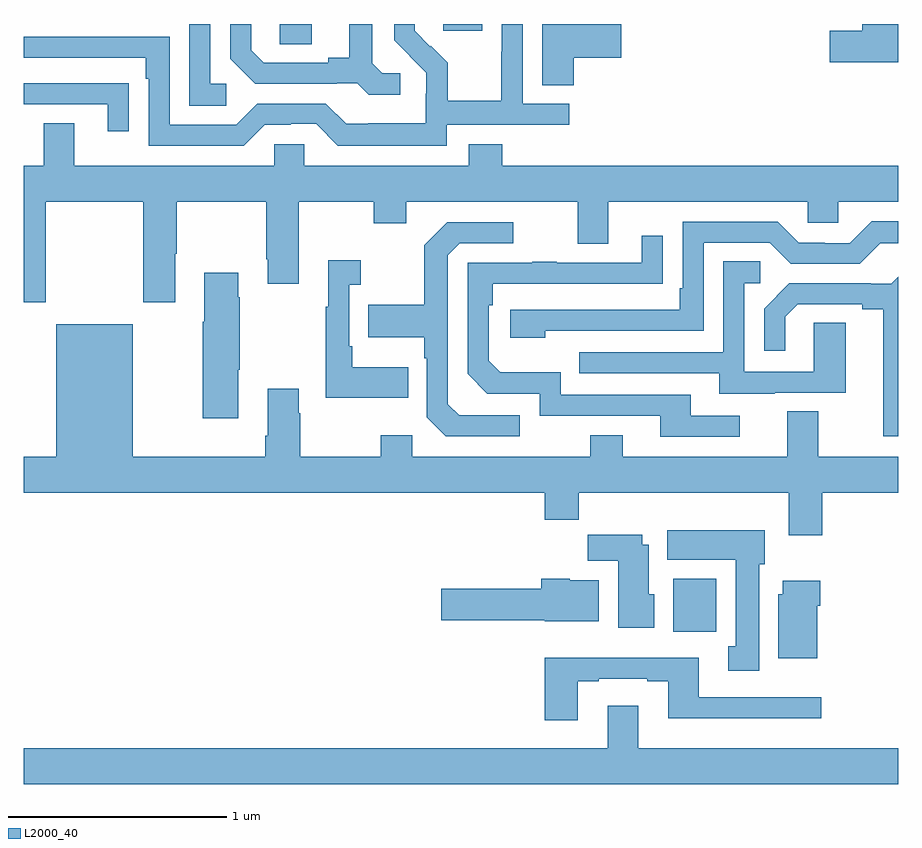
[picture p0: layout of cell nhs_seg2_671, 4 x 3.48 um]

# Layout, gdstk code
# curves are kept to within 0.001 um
import gdstk
lib = gdstk.Library(unit=1e-6, precision=1e-09)
def R(c, l, rs):  # rectangles x0, y0, x1, y1
    for r in rs: c.add(gdstk.rectangle(r[:2], r[2:], *l))
def P(c, l, *ps):  # polygons
    for p in ps: c.add(gdstk.Polygon(p, *l))
L2000_40 = (2000, 40)

nhs_seg2_671 = lib.new_cell('nhs_seg2_671')
R(nhs_seg2_671, L2000_40, [(147.971,627.02,148.168,627.262), (146.172,629.707,146.317,629.8), (146.918,629.769,147.097,629.8)])
P(nhs_seg2_671, L2000_40, [(145.927,629.526),(145.854,629.526),(145.854,629.8),(145.758,629.8),(145.758,629.425),(145.927,629.425)],
  [(146.934,629.34),(147.496,629.34),(147.496,629.436),(147.282,629.436),(147.282,629.8),(147.186,629.8),(147.186,629.672),(147.184,629.672),(147.184,629.449),(146.939,629.449),(146.939,629.623),(146.862,629.7),(146.859,629.697),(146.789,629.768),(146.789,629.8),(146.694,629.8),(146.694,629.726),(146.84,629.578),(146.84,629.481),(146.838,629.481),(146.838,629.347),(146.575,629.347),(146.575,629.343),(146.475,629.343),(146.382,629.436),(146.067,629.436),(145.971,629.34),(145.668,629.34),(145.668,629.742),(145,629.742),(145,629.646),(145.559,629.646),(145.559,629.549),(145.572,629.549),(145.572,629.244),(146.007,629.244),(146.103,629.34),(146.222,629.34),(146.222,629.343),(146.337,629.343),(146.437,629.243),(146.934,629.243)],
  [(146.722,629.574),(146.64,629.574),(146.593,629.621),(146.593,629.8),(146.489,629.8),(146.489,629.645),(146.393,629.645),(146.393,629.622),(146.098,629.622),(146.041,629.679),(146.041,629.8),(145.944,629.8),(145.944,629.642),(146.06,629.526),(146.432,629.526),(146.432,629.529),(146.526,629.529),(146.578,629.477),(146.722,629.477)],
  [(149,629.8),(148.835,629.8),(148.835,629.768),(148.686,629.768),(148.686,629.626),(149,629.626)],
  [(147.515,629.645),(147.733,629.645),(147.733,629.8),(147.371,629.8),(147.371,629.521),(147.515,629.521)],
  [(145.481,629.528),(145.379,629.528),(145.379,629.529),(145,629.529),(145,629.433),(145.385,629.433),(145.385,629.31),(145.481,629.31)],
  [(145.101,628.988),(145.546,628.988),(145.546,628.527),(145.693,628.527),(145.693,628.75),(145.701,628.75),(145.701,628.988),(146.11,628.988),(146.11,628.723),(146.117,628.723),(146.117,628.611),(146.257,628.611),(146.257,628.988),(146.602,628.988),(146.602,628.889),(146.749,628.889),(146.749,628.988),(147.533,628.988),(147.533,628.794),(147.673,628.794),(147.673,628.988),(148.587,628.988),(148.587,628.89),(148.725,628.89),(148.725,628.988),(149,628.988),(149,629.152),(147.188,629.152),(147.188,629.251),(147.035,629.251),(147.035,629.152),(146.283,629.152),(146.283,629.25),(146.145,629.25),(146.145,629.152),(145.231,629.152),(145.231,629.347),(145.091,629.347),(145.091,629.152),(145,629.152),(145,628.527),(145.101,628.527)],
  [(147.386,628.398),(148.11,628.398),(148.11,628.8),(148.413,628.8),(148.509,628.704),(148.824,628.704),(148.917,628.797),(149,628.797),(149,628.897),(148.879,628.897),(148.779,628.797),(148.664,628.797),(148.664,628.8),(148.545,628.8),(148.449,628.896),(148.014,628.896),(148.014,628.591),(148.001,628.591),(148.001,628.494),(147.225,628.494),(147.225,628.364),(147.386,628.364)],
  [(147.268,628.011),(146.991,628.011),(146.94,628.062),(146.94,628.743),(146.994,628.797),(147.238,628.797),(147.238,628.893),(146.937,628.893),(146.832,628.787),(146.832,628.515),(146.575,628.515),(146.575,628.367),(146.832,628.367),(146.832,628.271),(146.844,628.271),(146.844,628.002),(146.931,627.915),(147.268,627.915)],
  [(148.276,628.008),(148.051,628.008),(148.051,628.104),(147.456,628.104),(147.456,628.207),(147.179,628.207),(147.126,628.26),(147.126,628.514),(147.146,628.514),(147.146,628.611),(147.923,628.612),(147.923,628.831),(147.827,628.831),(147.827,628.707),(147.437,628.707),(147.437,628.712),(147.325,628.712),(147.325,628.707),(147.03,628.707),(147.03,628.2),(147.12,628.11),(147.36,628.11),(147.36,628.008),(147.911,628.008),(147.911,627.912),(148.276,627.912)],
  [(146.759,628.231),(146.503,628.231),(146.503,628.327),(146.49,628.327),(146.49,628.607),(146.542,628.607),(146.542,628.72),(146.393,628.72),(146.393,628.507),(146.382,628.507),(146.382,628.091),(146.759,628.091)],
  [(148.435,628.113),(148.759,628.113),(148.759,628.433),(148.614,628.433),(148.614,628.209),(148.296,628.209),(148.296,628.614),(148.369,628.614),(148.369,628.715),(148.2,628.715),(148.2,628.299),(147.541,628.299),(147.541,628.203),(148.181,628.203),(148.181,628.109),(148.435,628.109)],
  [(145.981,628.219),(145.989,628.219),(145.989,628.55),(145.981,628.55),(145.981,628.663),(145.826,628.663),(145.826,628.439),(145.819,628.439),(145.819,627.996),(145.981,627.996)],
  [(149,628.643),(148.968,628.611),(148.874,628.611),(148.874,628.614),(148.502,628.614),(148.386,628.498),(148.386,628.305),(148.483,628.305),(148.483,628.461),(148.54,628.518),(148.835,628.518),(148.835,628.496),(148.931,628.496),(148.931,627.915),(149,627.915)],
  [(148.652,627.656),(149,627.656),(149,627.82),(148.633,627.82),(148.633,628.028),(148.493,628.028),(148.493,627.82),(147.739,627.82),(147.739,627.919),(147.592,627.919),(147.592,627.82),(146.778,627.82),(146.778,627.919),(146.632,627.919),(146.632,627.82),(146.265,627.82),(146.265,628.019),(146.257,628.019),(146.257,628.132),(146.117,628.132),(146.117,627.916),(146.105,627.916),(146.105,627.82),(145.498,627.82),(145.498,628.426),(145.148,628.426),(145.148,627.82),(145,627.82),(145,627.656),(147.383,627.656),(147.383,627.532),(147.539,627.532),(147.539,627.656),(148.499,627.656),(148.499,627.462),(148.652,627.462)],
  [(148.363,627.33),(148.39,627.33),(148.39,627.484),(147.944,627.484),(147.944,627.35),(148.256,627.35),(148.256,626.954),(148.223,626.954),(148.223,626.841),(148.363,626.841)],
  [(147.883,627.192),(147.859,627.192),(147.859,627.418),(147.829,627.418),(147.829,627.463),(147.58,627.463),(147.58,627.344),(147.719,627.344),(147.719,627.038),(147.883,627.038)],
  [(147.631,627.256),(147.498,627.256),(147.498,627.262),(147.368,627.262),(147.368,627.216),(146.91,627.216),(146.91,627.074),(147.384,627.074),(147.384,627.068),(147.631,627.068)],
  [(148.63,627.14),(148.643,627.14),(148.643,627.253),(148.472,627.253),(148.472,627.192),(148.451,627.192),(148.451,626.9),(148.63,626.9)],
  [(147.535,626.793),(147.631,626.793),(147.631,626.805),(147.851,626.805),(147.851,626.793),(147.947,626.793),(147.947,626.624),(148.648,626.624),(148.648,626.721),(148.087,626.721),(148.087,626.902),(147.383,626.902),(147.383,626.616),(147.535,626.616)],
  [(149,626.488),(147.811,626.488),(147.811,626.683),(147.671,626.683),(147.671,626.488),(145,626.488),(145,626.324),(149,626.324)])

lib.write_gds('nhs_seg2_671.gds')
